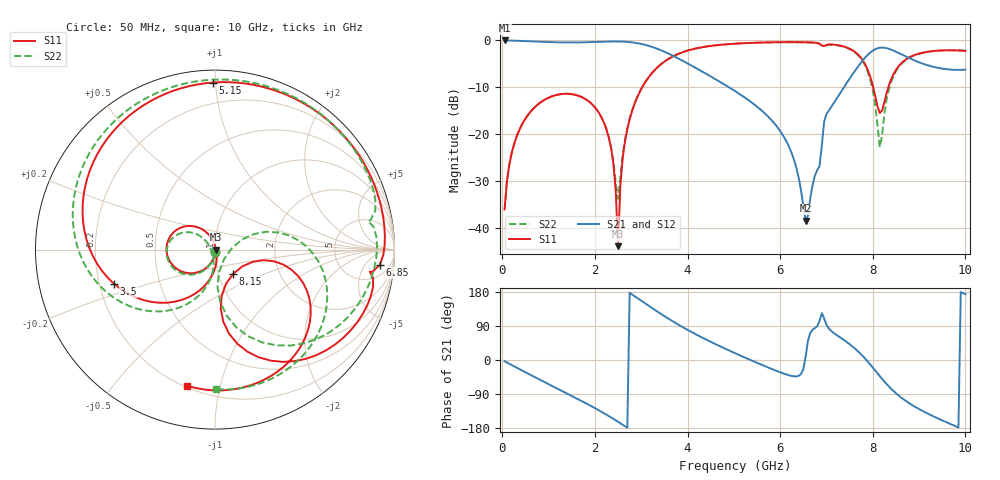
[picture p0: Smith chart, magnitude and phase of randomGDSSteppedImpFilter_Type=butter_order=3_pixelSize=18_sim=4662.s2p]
! freq	dB(S11)	phase(S11)	dB(S12)	phase(S12)
!  dB(S21)	phase(S21)	dB(S22)	phase(S22)
!S-par simulation data
#  GHz  S  DB  R 50
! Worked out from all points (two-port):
!   200 points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, 50 MHz to 10 GHz, reference 50 ohm
!   highest |S21| = -0.01 dB at 50 MHz (marker M1); lowest = -38.4 dB at 6.55 GHz (marker M2)
!   |S21| within 3 dB of the highest: start of sweep to 3.631 GHz; 7.898 GHz to 8.625 GHz (727.1 MHz wide, 8.8 % of centre)
!   lowest |S11| = -43.8 dB at 2.5 GHz (marker M3), VSWR 1.01, Z = 50.6 - j0.035 ohm
!   |S11| at or under -10 dB: start of sweep to 3.021 GHz; 8.01 GHz to 8.336 GHz (326.3 MHz wide, 3.99 % of centre)
!   |S22| runs from -36.0 to -0.4 dB; largest |S21 - S12| = 0
!   S11 on the Smith chart (normalised r, x): 50 MHz: 1.00, -0.03; 3.5 GHz: 0.26, -0.15; 5.15 GHz: 0.07, +0.98; 6.85 GHz: 11, -12; 8.15 GHz: 1.17, -0.33; 10 GHz: 0.21, -0.79
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0.05  -36.01 -93.0  -0.01 -3.3  -0.01 -3.3  -36.01 -92.8
0.55  -15.95 -127.3  -0.16 -35.5  -0.16 -35.5  -15.95 -124.7
1.75  -12.24 154.5  -0.41 -110.5  -0.41 -110.5  -12.24 164.5
2.3  -20.71 113.2  -0.23 -148.0  -0.23 -148.0  -20.60 136.6
2.5  -43.84 -3.1  -0.22 -163.0  -0.22 -163.0  -33.77 -153.1
2.55  -30.82 -69.8  -0.24 -166.9  -0.24 -166.9  -28.99 -109.2
2.7  -18.87 -91.6  -0.32 -178.7  -0.32 -178.7  -18.66 -95.6
3.4  -5.30 -153.2  -1.99 123.7  -1.99 123.7  -5.27 -142.8
3.5  -4.52 -161.3  -2.41 115.8  -2.41 115.8  -4.50 -150.2
4.15  -1.78 151.0  -5.71 69.7  -5.71 69.7  -1.77 166.2
5.05  -0.68 96.4  -10.95 16.7  -10.95 16.7  -0.67 115.7
5.15  -0.62 90.8  -11.59 11.2  -11.59 11.2  -0.62 110.4
6.15  -0.36 36.1  -21.80 -38.9  -21.80 -38.9  -0.37 56.9
6.55  -0.39 13.7  -38.39 8.6  -38.39 8.6  -0.41 33.9
6.7  -0.45 4.8  -30.82 80.0  -30.82 80.0  -0.47 24.5
6.85  -0.71 -5.4  -26.76 102.8  -26.76 102.8  -0.73 13.7
7  -0.97 -10.1  -15.70 92.7  -15.70 92.7  -1.00 8.3
7.8  -4.49 -72.4  -4.06 8.4  -4.06 8.4  -4.72 -62.9
8.15  -15.46 -53.4  -1.57 -42.4  -1.57 -42.4  -22.74 -45.7
8.35  -9.53 -11.2  -1.79 -70.2  -1.79 -70.2  -10.33 19.0
8.95  -2.95 -46.5  -4.48 -126.1  -4.48 -126.1  -2.99 -29.6
10  -2.23 -101.6  -6.22 173.9  -6.22 173.9  -2.19 -89.5
